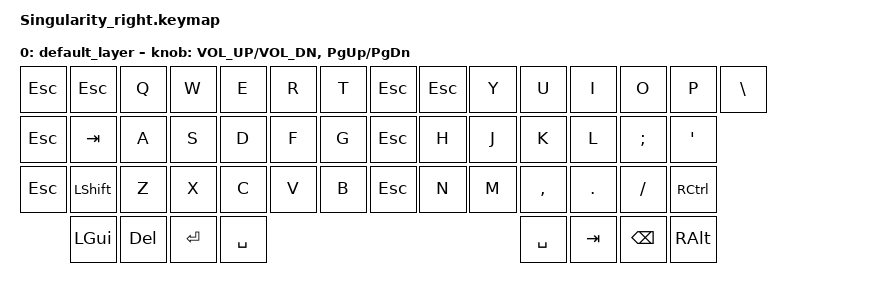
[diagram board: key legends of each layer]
#include <behaviors.dtsi>
#include <dt-bindings/zmk/keys.h>

/ {
    keymap {
        compatible = "zmk,keymap";

        default_layer {
// --------------------------------------------------------------------------------------------------------------------------------------------------------------------
// |   ESC   |    Q    |    W    |    E    |    R    |    T    |                                          |    Y    |    U    |    I    |    O    |    P    |    \    |
// |   TAB   |    A    |    S    |    D    |    F    |    G    |                                          |    H    |    J    |    K    |    L    |    ;    |    '    |
// |  SHIFT  |    Z    |    X    |    C    |    V    |    B    | CTRL+A  | CTRL+C  |  |  CTRL+V |  CTRL+X |    N    |    M    |    ,    |    .    |    /    |  R CTRL |
//                               |   GUI   |   DEL   | RETURN  |  SPACE  | ESCAPE  |  |  RETURN |  SPACE  |   TAB   |   BSPC  |  R ALT  |
            bindings = <
    &kp ESC &kp ESC    &kp Q    &kp W    &kp E     &kp R     &kp T                                                &kp ESC   &kp ESC   &kp Y     &kp U     &kp I     &kp O     &kp P    &kp BSLH
    &kp ESC &kp TAB    &kp A    &kp S    &kp D     &kp F     &kp G                                                &kp ESC &kp H     &kp J     &kp K     &kp L     &kp SEMI &kp SQT
    &kp ESC &kp LSHIFT &kp Z    &kp X    &kp C     &kp V     &kp B                                                &kp ESC &kp N     &kp M     &kp COMMA &kp DOT   &kp FSLH &kp RCTRL
         &kp LGUI  &kp DEL                         &kp RET   &kp SPACE                                            &kp SPACE &kp TAB                               &kp BSPC  &kp RALT
            >;

            sensor-bindings = <&inc_dec_kp C_VOL_UP C_VOL_DN &inc_dec_kp PG_UP PG_DN>;
        };
    };
};
